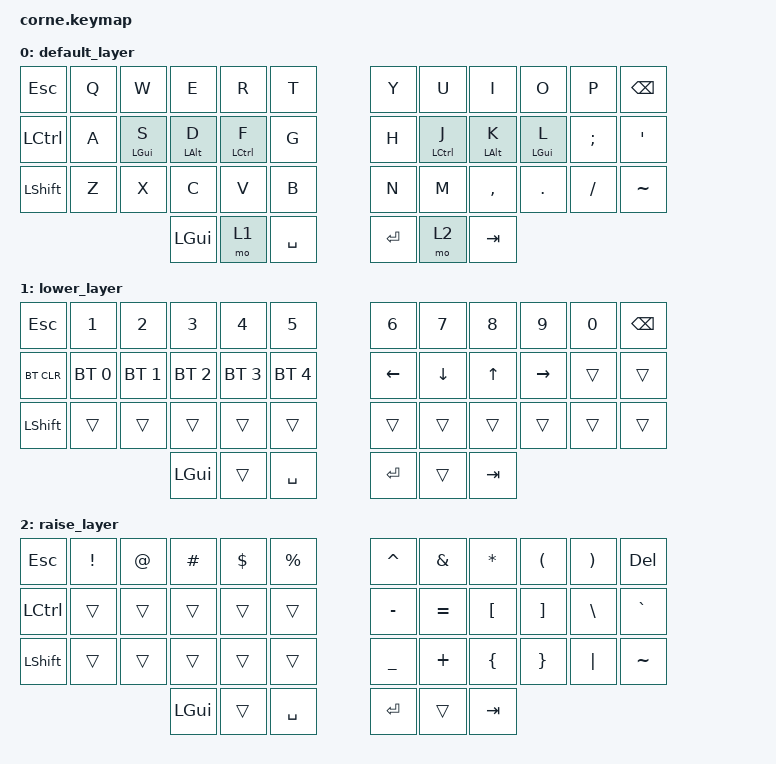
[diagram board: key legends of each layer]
/*
 * Copyright (c) 2020 The ZMK Contributors
 *
 * SPDX-License-Identifier: MIT
 */

#include <behaviors.dtsi>
#include <dt-bindings/zmk/keys.h>
#include <dt-bindings/zmk/bt.h>

&mt {
    flavor = "balanced";
    quick-tap-ms = <150>;
};

/ {
        keymap {
                compatible = "zmk,keymap";

                default_layer {
// -----------------------------------------------------------------------------------------
// |  ESC |  Q  |  W  |  E  |  R  |  T  |   |  Y  |  U   |  I  |  O  |  P  | BSPC |
// | CTRL |  A  |  S  |  D  |  F  |  G  |   |  H  |  J   |  K  |  L  |  ;  |  '   |
// | SHFT |  Z  |  X  |  C  |  V  |  B  |   |  N  |  M   |  ,  |  .  |  /  |   ~ |
//                    | GUI | LWR | SPC |   | ENT | RSE  | TAB |
                        bindings = <
   &kp ESC   &kp Q &kp W &kp E &kp R &kp T   &kp Y &kp U  &kp I     &kp O   &kp P    &kp BSPC
   &kp LCTRL &kp A &mt LGUI S &mt LALT D &mt LCTRL F &kp G   &kp H &mt LCTRL J  &mt LALT K  &mt LGUI L &kp SEMI &kp SQT
   &kp LSHFT &kp Z &kp X &kp C &kp V &kp B   &kp N &kp M  &kp COMMA &kp DOT &kp FSLH &kp TILDE
                  &kp LGUI &mo 1 &kp SPACE   &kp RET &mo 2 &kp TAB
                        >;
                };
                lower_layer {
// -----------------------------------------------------------------------------------------
// |  TAB |  1  |  2  |  3  |  4  |  5  |   |  6  |  7  |  8  |  9  |  0  | BSPC |
// | BTCLR| BT1 | BT2 | BT3 | BT4 | BT5 |   | LFT | DWN |  UP | RGT |     |      |
// | SHFT |     |     |     |     |     |   |     |     |     |     |     |      |
//                    | GUI |     | SPC |   | ENT |     | ALT |
                        bindings = <
   &kp ESC    &kp N1       &kp N2       &kp N3       &kp N4       &kp N5         &kp N6   &kp N7   &kp N8 &kp N9    &kp N0 &kp BSPC
   &bt BT_CLR &bt BT_SEL 0 &bt BT_SEL 1 &bt BT_SEL 2 &bt BT_SEL 3 &bt BT_SEL 4   &kp LEFT &kp DOWN &kp UP &kp RIGHT &trans &trans
   &kp LSHFT  &trans       &trans       &trans       &trans       &trans         &trans   &trans   &trans &trans    &trans &trans
                                    &kp LGUI     &trans       &kp SPACE      &kp RET  &trans   &kp TAB
                        >;
                };

                raise_layer {
// -----------------------------------------------------------------------------------------
// |  TAB |  !  |  @  |  #  |  $  |  %  |   |  ^  |  &  |  *  |  (  |  )  | BSPC |
// | CTRL |     |     |     |     |     |   |  -  |  =  |  [  |  ]  |  \  |  `   |
// | SHFT |     |     |     |     |     |   |  _  |  +  |  {  |  }  | "|" |  ~   |
//                    | GUI |     | SPC |   | ENT |     | ALT |
                        bindings = <
   &kp  ESC  &kp EXCL &kp AT &kp HASH &kp DLLR &kp PRCNT   &kp CARET &kp AMPS  &kp ASTRK &kp LPAR &kp RPAR &kp DEL
   &kp LCTRL &trans   &trans &trans   &trans   &trans      &kp MINUS &kp EQUAL &kp LBKT  &kp RBKT &kp BSLH &kp GRAVE
   &kp LSHFT &trans   &trans &trans   &trans   &trans      &kp UNDER &kp PLUS  &kp LBRC  &kp RBRC &kp PIPE &kp TILDE
                             &kp LGUI &trans   &kp SPACE   &kp RET   &trans    &kp TAB
                        >;
                };
        };
};
